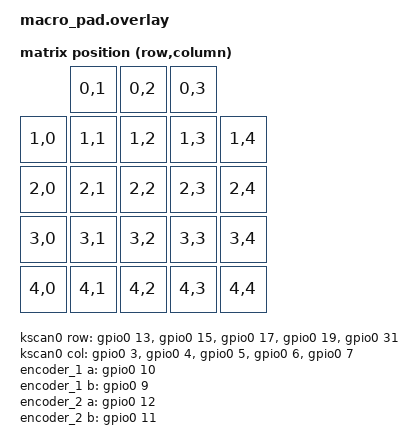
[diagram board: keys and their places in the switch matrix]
/*
 * Copyright (c) 2024 The ZMK Contributors
 *
 * SPDX-License-Identifier: MIT
 */

#include <dt-bindings/zmk/matrix_transform.h>

/ {
    chosen {
        zmk,kscan = &kscan0;
        zmk,matrix-transform = &default_transform;
        // zmk,capslock-led = &led_psw;
    };

    default_transform: keymap_transform_0 {
        compatible = "zmk,matrix-transform";
        columns = <5>;
        rows = <5>;
        map = <
        RC(0,1) RC(0,2) RC(0,3)
RC(1,0) RC(1,1) RC(1,2) RC(1,3) RC(1,4)
RC(2,0) RC(2,1) RC(2,2) RC(2,3) RC(2,4)
RC(3,0) RC(3,1) RC(3,2) RC(3,3) RC(3,4)
RC(4,0) RC(4,1) RC(4,2) RC(4,3) RC(4,4)
        >;
    };

    kscan0: kscan {
        compatible = "zmk,kscan-gpio-matrix";

        diode-direction = "col2row";
        row-gpios
            = <&gpio0 13 (GPIO_ACTIVE_HIGH | GPIO_PULL_DOWN)>
            , <&gpio0 15 (GPIO_ACTIVE_HIGH | GPIO_PULL_DOWN)>
            , <&gpio0 17 (GPIO_ACTIVE_HIGH | GPIO_PULL_DOWN)>
            , <&gpio0 19 (GPIO_ACTIVE_HIGH | GPIO_PULL_DOWN)>
            , <&gpio0 31 (GPIO_ACTIVE_HIGH | GPIO_PULL_DOWN)>
            ;
        col-gpios
            = <&gpio0 3 GPIO_ACTIVE_HIGH>
            , <&gpio0 4 GPIO_ACTIVE_HIGH>
            , <&gpio0 5 GPIO_ACTIVE_HIGH>
            , <&gpio0 6 GPIO_ACTIVE_HIGH>
            , <&gpio0 7 GPIO_ACTIVE_HIGH>
            ;
    };

    sensors: sensors {
        compatible = "zmk,keymap-sensors";
        sensors = <&encoder_1 &encoder_2>;
        triggers-per-rotation = <20>;
    };

    encoder_1: encoder_1 {
        compatible = "alps,ec11";
        a-gpios = <&gpio0 10 (GPIO_ACTIVE_LOW)>;
        b-gpios = <&gpio0 9 (GPIO_ACTIVE_LOW)>;
        steps = <80>;
        status = "okay";
    };

    encoder_2: encoder_2 {
        compatible = "alps,ec11";
        a-gpios = <&gpio0 12 (GPIO_ACTIVE_LOW)>;
        b-gpios = <&gpio0 11 (GPIO_ACTIVE_LOW)>;
        steps = <80>;
        status = "okay";
    };

    leds {
        status = "okay";
        compatible = "gpio-leds";
		led0: led_0 {
			gpios = <&gpio0 25 GPIO_ACTIVE_HIGH>;
			label = "Red LED 0";
		};
		led1: led_1 {
			gpios = <&gpio0 26 GPIO_ACTIVE_HIGH>;
			label = "Red LED 1";
		};
		led2: led_2 {
			gpios = <&gpio0 27 GPIO_ACTIVE_HIGH>;
			label = "Red LED 2";
		};
		led3: led_3 {
			gpios = <&gpio0 28 GPIO_ACTIVE_HIGH>;
			label = "Red LED 3";
		};
    };
    
	aliases {
		indicator-led = &led0;
    };
};
